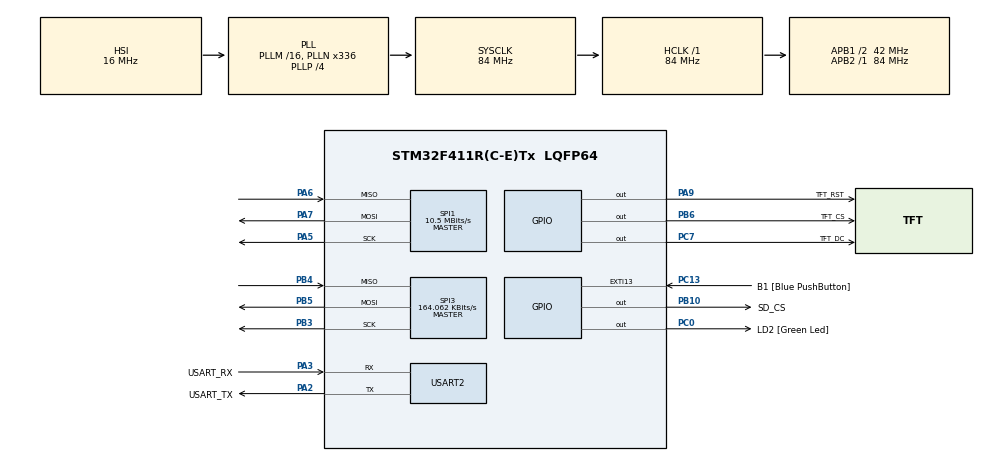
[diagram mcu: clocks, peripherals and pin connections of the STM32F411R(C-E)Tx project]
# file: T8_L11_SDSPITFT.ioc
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Mcu.Family=STM32F4
Mcu.Name=STM32F411R(C-E)Tx
Mcu.Package=LQFP64
NVIC.PriorityGroup=NVIC_PRIORITYGROUP_0
PA13.GPIO_Label=TMS
PA13.Mode=Serial_Wire
PA13.Signal=SYS_JTMS-SWDIO
PA14.GPIO_Label=TCK
PA14.Mode=Serial_Wire
PA14.Signal=SYS_JTCK-SWCLK
PA2.GPIO_Label=USART_TX
PA2.Mode=Asynchronous
PA2.Signal=USART2_TX
PA3.GPIO_Label=USART_RX
PA3.Mode=Asynchronous
PA3.Signal=USART2_RX
PA5.Mode=Full_Duplex_Master
PA5.Signal=SPI1_SCK
PA6.Mode=Full_Duplex_Master
PA6.Signal=SPI1_MISO
PA7.Mode=Full_Duplex_Master
PA7.Signal=SPI1_MOSI
PA9.GPIO_Label=TFT_RST
PA9.Signal=GPIO_Output
PB10.GPIO_Label=SD_CS
PB10.Signal=GPIO_Output
PB3.Mode=Full_Duplex_Master
PB3.Signal=SPI3_SCK
PB4.Mode=Full_Duplex_Master
PB4.Signal=SPI3_MISO
PB5.Mode=Full_Duplex_Master
PB5.Signal=SPI3_MOSI
PB6.GPIO_Label=TFT_CS
PB6.Signal=GPIO_Output
PC0.GPIO_Label=LD2 [Green Led]
PC0.Signal=GPIO_Output
PC13-ANTI_TAMP.GPIO_Label=B1 [Blue PushButton]
PC13-ANTI_TAMP.GPIO_ModeDefaultEXTI=GPIO_MODE_IT_FALLING
PC13-ANTI_TAMP.Signal=GPXTI13
PC14-OSC32_IN.Mode=LSE-External-Oscillator
PC14-OSC32_IN.Signal=RCC_OSC32_IN
PC15-OSC32_OUT.Mode=LSE-External-Oscillator
PC15-OSC32_OUT.Signal=RCC_OSC32_OUT
PC7.GPIO_Label=TFT_DC
PC7.Signal=GPIO_Output
PH0\ -\ OSC_IN.Mode=HSE-External-Clock-Source
PH0\ -\ OSC_IN.Signal=RCC_OSC_IN
PH1\ -\ OSC_OUT.Mode=HSE-External-Clock-Source
PH1\ -\ OSC_OUT.Signal=RCC_OSC_OUT
ProjectManager.HeapSize=0x200
ProjectManager.StackSize=0x400
ProjectManager.TargetToolchain=STM32CubeIDE
RCC.48MHZClocksFreq_Value=84000000
RCC.AHBFreq_Value=84000000
RCC.APB1CLKDivider=RCC_HCLK_DIV2
RCC.APB1Freq_Value=42000000
RCC.APB1TimFreq_Value=84000000
RCC.APB2Freq_Value=84000000
RCC.APB2TimFreq_Value=84000000
RCC.CortexFreq_Value=84000000
RCC.FLatency-AdvancedSettings=FLASH_LATENCY_2
RCC.HCLKFreq_Value=84000000
RCC.HSE_VALUE=8000000
RCC.HSI_VALUE=16000000
RCC.PLLN=336
RCC.PLLP=RCC_PLLP_DIV4
RCC.SYSCLKFreq_VALUE=84000000
RCC.SYSCLKSource=RCC_SYSCLKSOURCE_PLLCLK
RCC.VCOOutputFreq_Value=336000000
SPI1.BaudRatePrescaler=SPI_BAUDRATEPRESCALER_8
SPI1.CalculateBaudRate=10.5 MBits/s
SPI1.Direction=SPI_DIRECTION_2LINES
SPI1.Mode=SPI_MODE_MASTER
SPI1.VirtualType=VM_MASTER
SPI3.BaudRatePrescaler=SPI_BAUDRATEPRESCALER_256
SPI3.CalculateBaudRate=164.062 KBits/s
SPI3.Direction=SPI_DIRECTION_2LINES
SPI3.Mode=SPI_MODE_MASTER
SPI3.VirtualType=VM_MASTER
USART2.VirtualMode=VM_ASYNC
VP_FATFS_VS_Generic.Mode=User_defined
board=NUCLEO-F411RE

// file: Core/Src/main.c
/* USER CODE BEGIN Header */
/**
  ******************************************************************************
  * @file           : main.c
  * @brief          : Main program body
  ******************************************************************************
  * @attention
  *
  * Copyright (c) 2022 STMicroelectronics.
  * All rights reserved.
  *
  * This software is licensed under terms that can be found in the LICENSE file
  * in the root directory of this software component.
  * If no LICENSE file comes with this software, it is provided AS-IS.
  *
  ******************************************************************************
  */
/* USER CODE END Header */
#include "main.h"
#include "fatfs.h"
#include "spi.h"
#include "usart.h"
#include "gpio.h"

/* USER CODE BEGIN Includes */
#include "stdio.h"
#include "string.h"

#include "TFT_ILI9341.h"
#include "GFX_Color.h"
#include "GFX_EnhancedFonts.h"
/* USER CODE END Includes */

/* USER CODE BEGIN PV */
FRESULT FatFsResult;
FATFS SdFatFs;
FIL SdCardFile;

uint8_t bytes;
char data[128];
/* USER CODE END PV */

void SystemClock_Config(void);

int main(void)
{

  /* MCU Configuration--------------------------------------------------------*/

  /* Reset of all peripherals, Initializes the Flash interface and the Systick. */
  HAL_Init();

  /* Configure the system clock */
  SystemClock_Config();

  /* Initialize all configured peripherals */
  MX_GPIO_Init();
  MX_USART2_UART_Init();
  MX_SPI3_Init();
  MX_FATFS_Init();
  MX_SPI1_Init();
  /* USER CODE BEGIN 2 */

  ILI9341_Init(&hspi1);
  ILI9341_ClearDisplay(ILI9341_WHITE);

  FatFsResult = f_mount(&SdFatFs, "",1);
  if(FatFsResult != FR_OK)
  {
  	  bytes = sprintf(data, "FatFS mount error.\n\r");
  	  HAL_UART_Transmit(&huart2, (uint8_t*)data, bytes, 1000);
  }
  else
  {
	  bytes = sprintf(data, "FatFS mounted.\n\r");
	  HAL_UART_Transmit(&huart2, (uint8_t*)data, bytes, 1000);
  }

  ILI9341_DrawImageFromSD(28, 70, "logo.bin", 265, 100);
  /* USER CODE END 2 */

  /* Infinite loop */
  while (1)
  {

  }
}

void SystemClock_Config(void)
{
  RCC_OscInitTypeDef RCC_OscInitStruct = {0};
  RCC_ClkInitTypeDef RCC_ClkInitStruct = {0};

  /** Configure the main internal regulator output voltage
  */
  __HAL_RCC_PWR_CLK_ENABLE();
  __HAL_PWR_VOLTAGESCALING_CONFIG(PWR_REGULATOR_VOLTAGE_SCALE1);
  /** Initializes the RCC Oscillators according to the specified parameters
  * in the RCC_OscInitTypeDef structure.
  */
  RCC_OscInitStruct.OscillatorType = RCC_OSCILLATORTYPE_HSI;
  RCC_OscInitStruct.HSIState = RCC_HSI_ON;
  RCC_OscInitStruct.HSICalibrationValue = RCC_HSICALIBRATION_DEFAULT;
  RCC_OscInitStruct.PLL.PLLState = RCC_PLL_ON;
  RCC_OscInitStruct.PLL.PLLSource = RCC_PLLSOURCE_HSI;
  RCC_OscInitStruct.PLL.PLLM = 16;
  RCC_OscInitStruct.PLL.PLLN = 336;
  RCC_OscInitStruct.PLL.PLLP = RCC_PLLP_DIV4;
  RCC_OscInitStruct.PLL.PLLQ = 4;
  if (HAL_RCC_OscConfig(&RCC_OscInitStruct) != HAL_OK)
  {
    Error_Handler();
  }
  /** Initializes the CPU, AHB and APB buses clocks
  */
  RCC_ClkInitStruct.ClockType = RCC_CLOCKTYPE_HCLK|RCC_CLOCKTYPE_SYSCLK
                              |RCC_CLOCKTYPE_PCLK1|RCC_CLOCKTYPE_PCLK2;
  RCC_ClkInitStruct.SYSCLKSource = RCC_SYSCLKSOURCE_PLLCLK;
  RCC_ClkInitStruct.AHBCLKDivider = RCC_SYSCLK_DIV1;
  RCC_ClkInitStruct.APB1CLKDivider = RCC_HCLK_DIV2;
  RCC_ClkInitStruct.APB2CLKDivider = RCC_HCLK_DIV1;

  if (HAL_RCC_ClockConfig(&RCC_ClkInitStruct, FLASH_LATENCY_2) != HAL_OK)
  {
    Error_Handler();
  }
}

void Error_Handler(void)
{
  __disable_irq();
  while (1)
  {
  }
}
